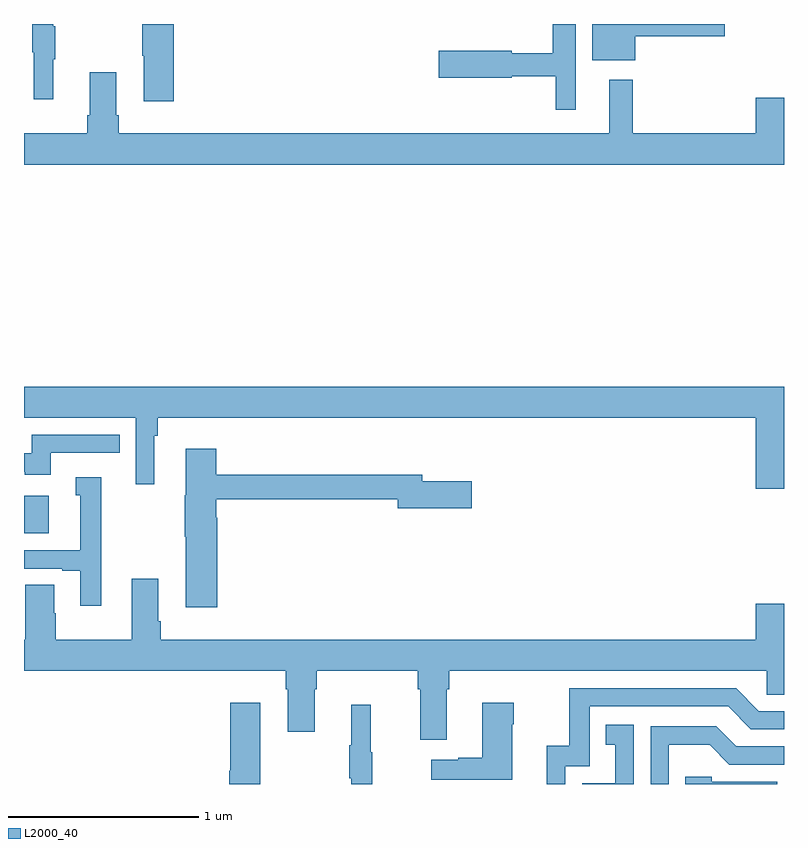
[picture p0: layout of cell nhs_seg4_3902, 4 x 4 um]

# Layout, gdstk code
import gdstk
lib = gdstk.Library(unit=1e-6, precision=1e-09)
def R(c, l, rs):  # rectangles x0, y0, x1, y1
    for r in rs: c.add(gdstk.rectangle(r[:2], r[2:], *l))
def P(c, l, *ps):  # polygons
    for p in ps: c.add(gdstk.Polygon(p, *l))
L2000_40 = (2000, 40)

nhs_seg4_3902 = lib.new_cell('nhs_seg4_3902')
R(nhs_seg4_3902, L2000_40, [(317,788.219,317.131,788.416)])
P(nhs_seg4_3902, L2000_40, [(317.789,790.9),(317.623,790.9),(317.623,790.732),(317.63,790.732),(317.63,790.494),(317.789,790.494)],
  [(317.153,790.715),(317.164,790.715),(317.164,790.889),(317.153,790.889),(317.153,790.9),(317.043,790.9),(317.043,790.752),(317.05,790.752),(317.05,790.503),(317.153,790.503)],
  [(320.218,790.835),(320.689,790.835),(320.689,790.9),(319.991,790.9),(319.991,790.709),(320.218,790.709)],
  [(319.903,790.9),(319.782,790.9),(319.782,790.747),(319.566,790.747),(319.566,790.76),(319.182,790.76),(319.182,790.618),(319.566,790.618),(319.566,790.626),(319.799,790.626),(319.799,790.449),(319.903,790.449)],
  [(321,790.513),(320.852,790.513),(320.852,790.324),(320.203,790.324),(320.203,790.606),(320.081,790.606),(320.081,790.324),(317.498,790.324),(317.498,790.42),(317.485,790.42),(317.485,790.645),(317.345,790.645),(317.345,790.42),(317.333,790.42),(317.333,790.324),(317,790.324),(317,790.16),(321,790.16)],
  [(321,788.992),(317,788.992),(317,788.828),(317.589,788.828),(317.589,788.478),(317.686,788.478),(317.686,788.732),(317.705,788.732),(317.705,788.828),(320.852,788.828),(320.852,788.454),(321,788.454)],
  [(317.14,788.643),(317.504,788.643),(317.504,788.739),(317.041,788.739),(317.041,788.64),(317,788.64),(317,788.544),(317.004,788.544),(317.004,788.528),(317.14,788.528)],
  [(318.016,788.301),(318.011,788.301),(318.011,788.398),(318.968,788.398),(318.968,788.351),(319.357,788.351),(319.357,788.493),(319.096,788.493),(319.096,788.527),(318.011,788.527),(318.011,788.665),(317.852,788.665),(317.852,788.421),(317.845,788.421),(317.845,788.201),(317.852,788.201),(317.852,787.83),(318.016,787.83)],
  [(317.407,788.515),(317.273,788.515),(317.273,788.421),(317.297,788.421),(317.297,788.13),(317,788.13),(317,788.034),(317.201,788.034),(317.201,788.022),(317.297,788.022),(317.297,787.839),(317.407,787.839)],
  [(318.377,787.4),(318.389,787.4),(318.389,787.176),(318.529,787.176),(318.529,787.4),(318.542,787.4),(318.542,787.496),(319.073,787.496),(319.073,787.4),(319.085,787.4),(319.085,787.134),(319.225,787.134),(319.225,787.4),(319.238,787.4),(319.238,787.496),(320.91,787.496),(320.91,787.369),(321,787.369),(321,787.849),(320.852,787.849),(320.852,787.66),(317.72,787.66),(317.72,787.756),(317.707,787.756),(317.707,787.981),(317.567,787.981),(317.567,787.66),(317.166,787.66),(317.166,787.799),(317.158,787.799),(317.158,787.949),(317.006,787.949),(317.006,787.66),(317,787.66),(317,787.496),(318.377,787.496)],
  [(319.848,786.993),(319.977,786.993),(319.977,787.308),(320.706,787.308),(320.826,787.188),(321,787.188),(321,787.284),(320.868,787.284),(320.748,787.404),(319.869,787.404),(319.869,787.102),(319.751,787.102),(319.751,786.9),(319.848,786.9)],
  [(319.57,787.214),(319.578,787.214),(319.578,787.327),(319.412,787.327),(319.412,787.037),(319.286,787.037),(319.286,787.027),(319.143,787.027),(319.143,786.923),(319.57,786.923)],
  [(318.244,787.327),(318.086,787.327),(318.086,786.969),(318.08,786.969),(318.08,786.9),(318.244,786.9)],
  [(318.832,787.068),(318.824,787.068),(318.824,787.318),(318.722,787.318),(318.722,787.105),(318.711,787.105),(318.711,786.931),(318.722,786.931),(318.722,786.9),(318.832,786.9)],
  [(320.208,787.213),(320.062,787.213),(320.062,787.107),(320.111,787.107),(320.111,786.903),(319.938,786.903),(319.938,786.9),(320.208,786.9)],
  [(320.394,787.106),(320.608,787.106),(320.712,787.002),(321,787.002),(321,787.098),(320.749,787.098),(320.644,787.203),(320.298,787.203),(320.298,786.9),(320.394,786.9)],
  [(320.964,786.912),(320.619,786.912),(320.619,786.939),(320.479,786.939),(320.479,786.9),(320.964,786.9)])

lib.write_gds('nhs_seg4_3902.gds')
